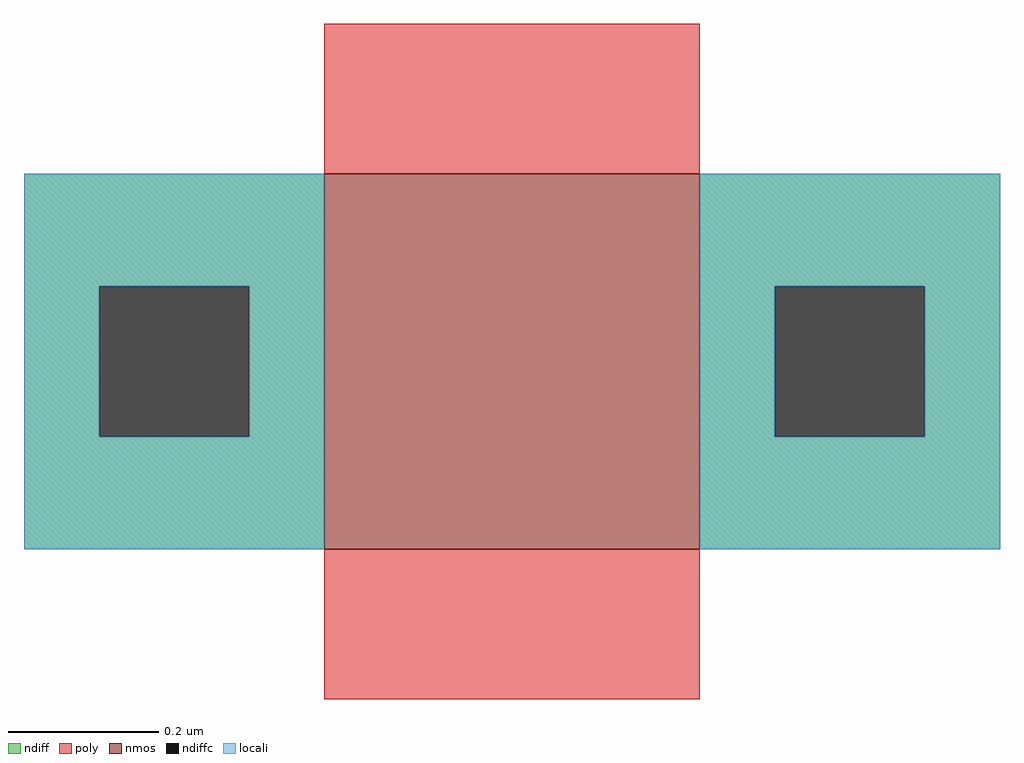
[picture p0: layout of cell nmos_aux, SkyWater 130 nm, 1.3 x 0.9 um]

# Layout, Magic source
magic
tech sky130A
<< nmos >>
rect 0 0 50 50
<< ndiff >>
rect -40 35 0 50
rect -40 15 -30 35
rect -10 15 0 35
rect -40 0 0 15
rect 50 35 90 50
rect 50 15 60 35
rect 80 15 90 35
rect 50 0 90 15
<< ndiffc >>
rect -30 15 -10 35
rect 60 15 80 35
<< poly >>
rect 0 50 50 70
rect 0 -20 50 0
<< locali >>
rect -40 35 0 50
rect -40 15 -30 35
rect -10 15 0 35
rect -40 0 0 15
rect 50 35 90 50
rect 50 15 60 35
rect 80 15 90 35
rect 50 0 90 15
<< end >>
